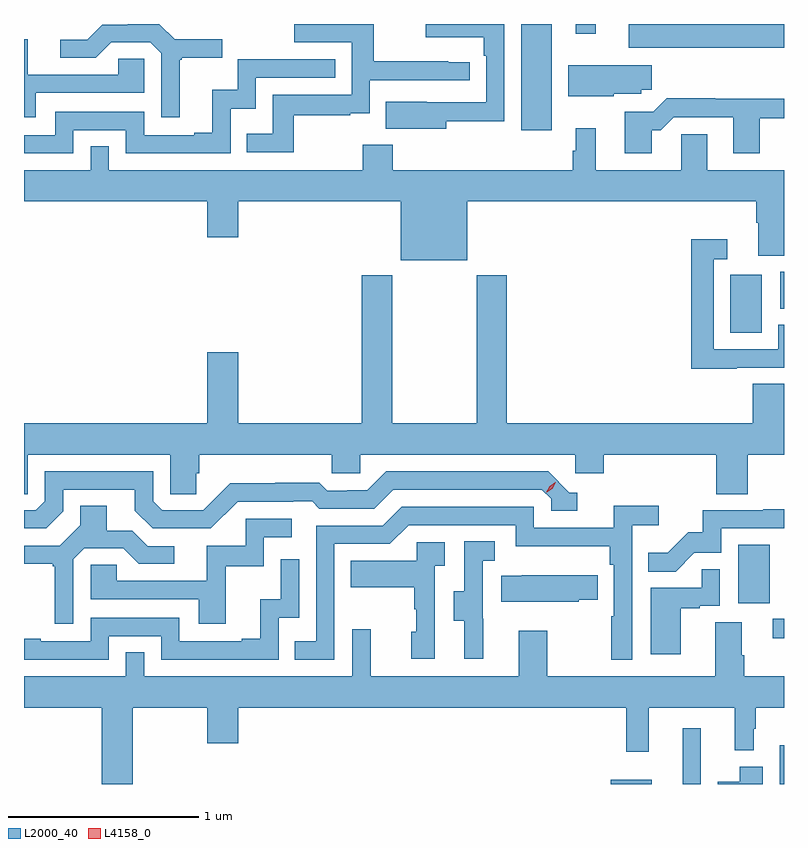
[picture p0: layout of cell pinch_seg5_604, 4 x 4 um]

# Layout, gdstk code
import gdstk
lib = gdstk.Library(unit=1e-6, precision=1e-09)
def R(c, l, rs):  # rectangles x0, y0, x1, y1
    for r in rs: c.add(gdstk.rectangle(r[:2], r[2:], *l))
def P(c, l, *ps):  # polygons
    for p in ps: c.add(gdstk.Polygon(p, *l))
L2000_40 = (2000, 40)
L4158_0 = (4158, 0)

pinch_seg5_604 = lib.new_cell('pinch_seg5_604')
R(pinch_seg5_604, L2000_40, [(1078.22,872.342,1078.435,872.365), (1078.598,872.342,1078.695,872.635), (1079.109,872.342,1079.132,872.545), (1079.073,873.108,1079.132,873.213), (1078.892,873.294,1079.056,873.601), (1078.85,874.716,1079.014,875.023), (1079.112,874.843,1079.132,875.037), (1077.749,875.784,1077.91,876.342), (1078.316,876.218,1079.132,876.342), (1078.037,876.291,1078.141,876.342)])
P(pinch_seg5_604, L2000_40, [(1075.951,876.153),(1075.963,876.153),(1075.963,876.164),(1076.176,876.164),(1076.176,876.261),(1075.926,876.261),(1075.845,876.342),(1075.679,876.342),(1075.679,876.338),(1075.544,876.338),(1075.464,876.258),(1075.323,876.258),(1075.323,876.165),(1075.51,876.165),(1075.591,876.246),(1075.797,876.246),(1075.854,876.189),(1075.854,875.85),(1075.951,875.85)],
  [(1077.355,875.83),(1077.66,875.83),(1077.66,876.342),(1077.246,876.342),(1077.246,876.272),(1077.551,876.272),(1077.551,876.176),(1077.564,876.176),(1077.564,875.931),(1077.251,875.931),(1077.251,875.932),(1077.037,875.932),(1077.037,875.792),(1077.355,875.792)],
  [(1076.551,875.862),(1076.849,875.862),(1076.849,875.873),(1076.952,875.873),(1076.952,876.045),(1077.478,876.045),(1077.478,876.141),(1077.365,876.141),(1077.365,876.146),(1076.972,876.146),(1076.972,876.342),(1076.555,876.342),(1076.555,876.246),(1076.856,876.246),(1076.856,875.97),(1076.44,875.97),(1076.44,875.764),(1076.305,875.764),(1076.305,875.667),(1076.551,875.667)],
  [(1075.195,875.979),(1075.764,875.979),(1075.764,876.159),(1075.627,876.159),(1075.627,876.075),(1075.153,876.075),(1075.153,876.261),(1075.132,876.261),(1075.132,875.85),(1075.195,875.85)],
  [(1075.392,875.784),(1075.668,875.784),(1075.668,875.661),(1076.22,875.661),(1076.22,875.897),(1076.352,875.897),(1076.352,876.06),(1076.771,876.06),(1076.771,876.156),(1076.256,876.156),(1076.256,875.995),(1076.123,875.995),(1076.123,875.77),(1076.027,875.77),(1076.027,875.757),(1075.764,875.757),(1075.764,875.88),(1075.296,875.88),(1075.296,875.757),(1075.132,875.757),(1075.132,875.661),(1075.392,875.661)],
  [(1078.236,875.975),(1078.38,875.975),(1078.38,875.995),(1078.435,875.995),(1078.435,876.124),(1077.996,876.124),(1077.996,875.963),(1078.236,875.963)],
  [(1078.435,875.783),(1078.484,875.783),(1078.551,875.85),(1078.865,875.85),(1078.865,875.661),(1079.005,875.661),(1079.005,875.847),(1079.132,875.847),(1079.132,875.948),(1078.769,875.948),(1078.769,875.951),(1078.514,875.951),(1078.443,875.88),(1078.295,875.88),(1078.295,875.661),(1078.435,875.661)],
  [(1077.466,875.408),(1078.985,875.408),(1078.985,875.296),(1078.997,875.296),(1078.997,875.122),(1079.132,875.122),(1079.132,875.572),(1078.729,875.572),(1078.729,875.762),(1078.59,875.762),(1078.59,875.572),(1078.141,875.572),(1078.141,875.794),(1078.037,875.794),(1078.037,875.675),(1078.02,875.675),(1078.02,875.572),(1077.074,875.572),(1077.074,875.707),(1076.914,875.707),(1076.914,875.572),(1075.578,875.572),(1075.578,875.699),(1075.482,875.699),(1075.482,875.572),(1075.132,875.572),(1075.132,875.408),(1076.096,875.408),(1076.096,875.22),(1076.26,875.22),(1076.26,875.408),(1077.116,875.408),(1077.116,875.099),(1077.466,875.099)],
  [(1078.883,874.533),(1079.132,874.533),(1079.132,874.758),(1079.103,874.758),(1079.103,874.629),(1078.761,874.629),(1078.761,875.103),(1078.834,875.103),(1078.834,875.209),(1078.645,875.209),(1078.645,874.528),(1078.883,874.528)],
  [(1078.032,873.978),(1078.184,873.978),(1078.184,874.076),(1078.775,874.076),(1078.775,873.868),(1078.94,873.868),(1078.94,874.076),(1079.132,874.076),(1079.132,874.448),(1078.967,874.448),(1078.967,874.24),(1077.674,874.24),(1077.674,875.02),(1077.514,875.02),(1077.514,874.24),(1077.069,874.24),(1077.069,875.02),(1076.909,875.02),(1076.909,874.24),(1076.26,874.24),(1076.26,874.615),(1076.096,874.615),(1076.096,874.24),(1075.132,874.24),(1075.132,873.868),(1075.152,873.868),(1075.152,874.076),(1075.902,874.076),(1075.902,873.868),(1076.039,873.868),(1076.039,873.978),(1076.054,873.978),(1076.054,874.076),(1076.751,874.076),(1076.751,873.978),(1076.901,873.978),(1076.901,874.076),(1078.032,874.076)],
  [(1075.338,873.777),(1075.338,873.891),(1075.715,873.891),(1075.715,873.781),(1075.809,873.687),(1076.115,873.687),(1076.256,873.828),(1076.549,873.828),(1076.549,873.831),(1076.648,873.831),(1076.687,873.792),(1076.976,873.792),(1077.075,873.891),(1077.858,873.891),(1077.906,873.843),(1077.906,873.78),(1078.045,873.78),(1078.045,873.876),(1078.002,873.876),(1077.891,873.987),(1077.038,873.987),(1076.939,873.888),(1076.832,873.888),(1076.832,873.885),(1076.729,873.885),(1076.687,873.928),(1076.454,873.928),(1076.454,873.925),(1076.218,873.925),(1076.076,873.783),(1075.86,873.783),(1075.812,873.831),(1075.812,873.987),(1075.242,873.987),(1075.242,873.831),(1075.194,873.783),(1075.132,873.783),(1075.132,873.687),(1075.248,873.687)],
  [(1075.392,873.525),(1075.449,873.582),(1075.655,873.582),(1075.736,873.501),(1075.924,873.501),(1075.924,873.594),(1075.782,873.594),(1075.702,873.674),(1075.567,873.674),(1075.567,873.806),(1075.427,873.806),(1075.427,873.704),(1075.32,873.597),(1075.132,873.597),(1075.132,873.5),(1075.284,873.5),(1075.284,873.489),(1075.295,873.489),(1075.295,873.186),(1075.392,873.186)],
  [(1076.766,873.606),(1077.057,873.606),(1077.156,873.705),(1077.72,873.705),(1077.72,873.593),(1078.216,873.593),(1078.216,873.497),(1078.236,873.497),(1078.236,873.224),(1078.224,873.224),(1078.224,872.997),(1078.332,872.997),(1078.332,873.704),(1078.474,873.704),(1078.474,873.806),(1078.235,873.806),(1078.235,873.69),(1077.816,873.69),(1077.816,873.801),(1077.119,873.801),(1077.02,873.702),(1076.67,873.702),(1076.67,873.093),(1076.557,873.093),(1076.557,872.997),(1076.766,872.997)],
  [(1078.659,873.558),(1078.803,873.558),(1078.803,873.687),(1079.132,873.687),(1079.132,873.788),(1079.023,873.788),(1079.023,873.783),(1078.705,873.783),(1078.705,873.666),(1078.628,873.666),(1078.521,873.559),(1078.417,873.559),(1078.417,873.46),(1078.561,873.46)],
  [(1076.195,873.489),(1076.394,873.489),(1076.394,873.642),(1076.542,873.642),(1076.542,873.738),(1076.298,873.738),(1076.298,873.597),(1076.093,873.597),(1076.093,873.411),(1075.619,873.411),(1075.619,873.495),(1075.482,873.495),(1075.482,873.315),(1076.051,873.315),(1076.051,873.186),(1076.195,873.186)],
  [(1077.548,873.213),(1077.546,873.213),(1077.546,873.517),(1077.61,873.517),(1077.61,873.62),(1077.45,873.62),(1077.45,873.357),(1077.395,873.357),(1077.395,873.202),(1077.449,873.202),(1077.449,873),(1077.548,873)],
  [(1077.294,873.491),(1077.346,873.491),(1077.346,873.615),(1077.198,873.615),(1077.198,873.517),(1076.851,873.517),(1076.851,873.377),(1077.186,873.377),(1077.186,873.263),(1077.196,873.263),(1077.196,873.144),(1077.17,873.144),(1077.17,873),(1077.294,873)],
  [(1075.578,873.12),(1075.854,873.12),(1075.854,872.997),(1076.472,872.997),(1076.472,873.216),(1076.58,873.216),(1076.58,873.526),(1076.484,873.526),(1076.484,873.314),(1076.375,873.314),(1076.375,873.106),(1076.279,873.106),(1076.279,873.093),(1075.95,873.093),(1075.95,873.216),(1075.482,873.216),(1075.482,873.093),(1075.219,873.093),(1075.219,873.106),(1075.132,873.106),(1075.132,872.997),(1075.578,872.997)],
  [(1078.588,873.267),(1078.688,873.267),(1078.688,873.279),(1078.794,873.279),(1078.794,873.473),(1078.699,873.473),(1078.699,873.375),(1078.43,873.375),(1078.43,873.024),(1078.588,873.024)],
  [(1078.053,873.313),(1078.151,873.313),(1078.151,873.442),(1077.751,873.442),(1077.751,873.439),(1077.643,873.439),(1077.643,873.302),(1078.053,873.302)],
  [(1075.705,872.744),(1076.096,872.744),(1076.096,872.556),(1076.26,872.556),(1076.26,872.744),(1078.303,872.744),(1078.303,872.511),(1078.421,872.511),(1078.421,872.744),(1078.874,872.744),(1078.874,872.519),(1078.972,872.519),(1078.972,872.632),(1078.984,872.632),(1078.984,872.744),(1079.132,872.744),(1079.132,872.908),(1078.922,872.908),(1078.922,873.02),(1078.909,873.02),(1078.909,873.194),(1078.769,873.194),(1078.769,872.908),(1077.885,872.908),(1077.885,873.148),(1077.737,873.148),(1077.737,872.908),(1076.957,872.908),(1076.957,873.157),(1076.859,873.157),(1076.859,872.908),(1075.764,872.908),(1075.764,873.035),(1075.668,873.035),(1075.668,872.908),(1075.132,872.908),(1075.132,872.744),(1075.541,872.744),(1075.541,872.342),(1075.705,872.342)],
  [(1079.02,872.434),(1078.898,872.434),(1078.898,872.353),(1078.784,872.353),(1078.784,872.342),(1079.02,872.342)])
P(pinch_seg5_604, L4158_0, [(1077.881,873.877),(1077.881,873.877),(1077.898,873.91),(1077.929,873.929),(1077.93,873.929),(1077.93,873.929),(1077.913,873.896),(1077.882,873.877)])

lib.write_gds('pinch_seg5_604.gds')
